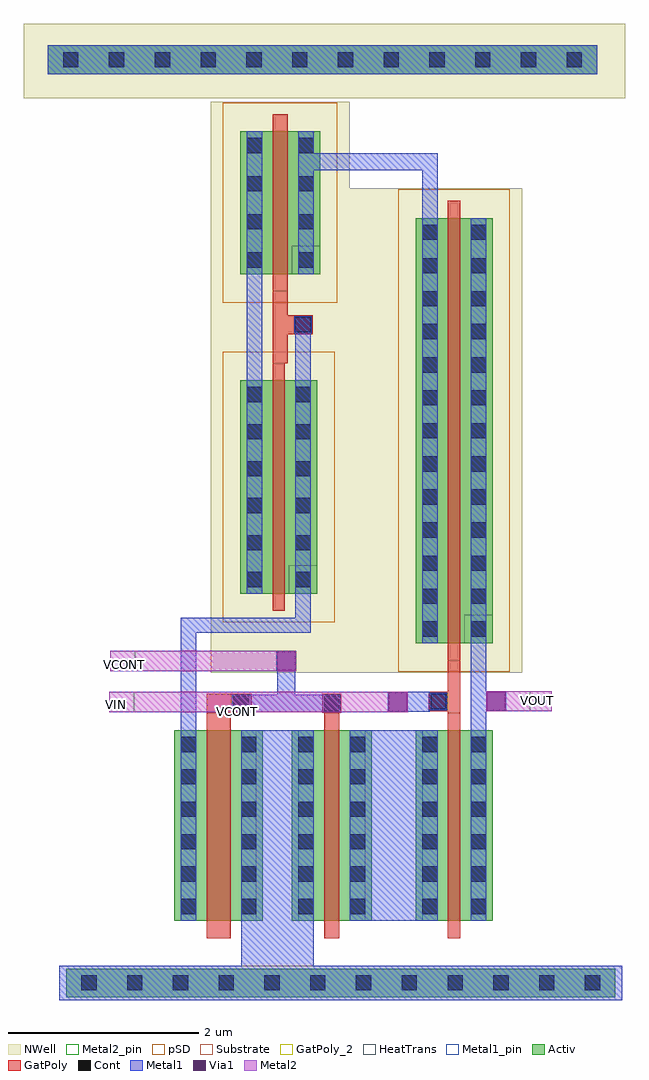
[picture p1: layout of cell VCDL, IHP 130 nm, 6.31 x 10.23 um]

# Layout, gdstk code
import gdstk
lib = gdstk.Library(unit=1e-6, precision=1e-09)
def R(c, l, rs):  # rectangles x0, y0, x1, y1
    for r in rs: c.add(gdstk.rectangle(r[:2], r[2:], *l))
def A(c, l, x, y, w, h, nx, ny, dx, dy):  # array of equal rectangles
    R(c, l, [(x+i*dx, y+j*dy, x+i*dx+w, y+j*dy+h) for i in range(nx) for j in range(ny)])
def P(c, l, *ps):  # polygons
    for p in ps: c.add(gdstk.Polygon(p, *l))
Activ = (1, 0)
GatPoly = (5, 0)
GatPoly_2 = (5, 2)
Cont = (6, 0)
Metal1 = (8, 0)
Metal1_pin = (8, 2)
Metal2 = (10, 0)
Metal2_pin = (10, 2)
pSD = (14, 0)
Via1 = (19, 0)
NWell = (31, 0)
Substrate = (40, 0)
HeatTrans = (51, 0)

nmos = lib.new_cell('nmos')
R(nmos, Activ, [(0,0,0.3,0.3), (0,0,0.84,2), (0.54,0,0.84,0.3)])
R(nmos, GatPoly, [(0.34,-0.18,0.5,2.18)])
R(nmos, GatPoly_2, [(0.34,-0.18,0.5,2.18)])
A(nmos, Cont, 0.07, 0.07, 0.16, 0.16, 1, 6, 0, 0.34)
A(nmos, Cont, 0.61, 0.07, 0.16, 0.16, 1, 6, 0, 0.34)
R(nmos, Metal1, [(0.07,0,0.23,2), (0.61,0,0.77,2)])
R(nmos, Metal1_pin, [(0.07,0,0.23,2), (0.61,0,0.77,2)])
R(nmos, HeatTrans, [(0.34,-0.18,0.5,2.18)])
nmos.add(gdstk.Label('nmos', (0.42,1), layer=63, texttype=0))
nmos.add(gdstk.Label('nmos', (0.42,1), layer=51, texttype=0))

nmos_1 = lib.new_cell('nmos$1')
R(nmos_1, Activ, [(0,0,0.3,0.3), (0,0,0.93,2), (0.63,0,0.93,0.3)])
R(nmos_1, GatPoly, [(0.34,-0.18,0.59,2.18)])
R(nmos_1, GatPoly_2, [(0.34,-0.18,0.59,2.18)])
A(nmos_1, Cont, 0.07, 0.07, 0.16, 0.16, 1, 6, 0, 0.34)
A(nmos_1, Cont, 0.7, 0.07, 0.16, 0.16, 1, 6, 0, 0.34)
R(nmos_1, Metal1, [(0.07,0,0.23,2), (0.7,0,0.86,2)])
R(nmos_1, Metal1_pin, [(0.07,0,0.23,2), (0.7,0,0.86,2)])
R(nmos_1, HeatTrans, [(0.34,-0.18,0.59,2.18)])
nmos_1.add(gdstk.Label('nmos', (0.465,1), layer=63, texttype=0))
nmos_1.add(gdstk.Label('nmos', (0.465,1), layer=51, texttype=0))

pmos = lib.new_cell('pmos')
R(pmos, Activ, [(0,0,0.3,0.3), (0,0,0.81,2.24), (0.51,0,0.81,0.3)])
R(pmos, GatPoly, [(0.34,-0.18,0.47,2.42), (0.34,-0.18,0.47,2.42)])
A(pmos, Cont, 0.07, 1.23, 0.16, 0.16, 1, 3, 0, 0.39)
A(pmos, Cont, 0.58, 1.23, 0.16, 0.16, 1, 3, 0, 0.39)
R(pmos, Cont, [(0.07,0.07,0.23,0.23), (0.58,0.07,0.74,0.23), (0.07,0.455,0.23,0.615), (0.58,0.455,0.74,0.615), (0.07,0.845,0.23,1.005), (0.58,0.845,0.74,1.005)])
R(pmos, Metal1, [(0.07,0,0.23,2.24), (0.07,0,0.23,2.24), (0.58,0,0.74,2.24), (0.58,0,0.74,2.24)])
R(pmos, pSD, [(-0.18,-0.3,0.99,2.54)])
R(pmos, NWell, [(-0.31,-0.31,1.12,2.55)])
R(pmos, Substrate, [(0.51,0,0.81,0.3)])
R(pmos, HeatTrans, [(0.34,-0.18,0.47,2.42)])
pmos.add(gdstk.Label('pmos', (0.405,1.12), layer=63, texttype=0))
pmos.add(gdstk.Label('pmos', (0.405,1.12), layer=51, texttype=0))

pmos_1 = lib.new_cell('pmos$1')
R(pmos_1, Activ, [(0,0,0.3,0.3), (0,0,0.84,1.5), (0.54,0,0.84,0.3)])
R(pmos_1, GatPoly, [(0.34,-0.18,0.5,1.68), (0.34,-0.18,0.5,1.68)])
A(pmos_1, Cont, 0.07, 0.07, 0.16, 0.16, 1, 4, 0, 0.4)
A(pmos_1, Cont, 0.61, 0.07, 0.16, 0.16, 1, 4, 0, 0.4)
R(pmos_1, Metal1, [(0.07,0,0.23,1.5), (0.07,0,0.23,1.5), (0.61,0,0.77,1.5), (0.61,0,0.77,1.5)])
R(pmos_1, pSD, [(-0.18,-0.3,1.02,1.8)])
R(pmos_1, NWell, [(-0.31,-0.31,1.15,1.81)])
R(pmos_1, Substrate, [(0.54,0,0.84,0.3)])
R(pmos_1, HeatTrans, [(0.34,-0.18,0.5,1.68)])
pmos_1.add(gdstk.Label('pmos', (0.42,0.75), layer=63, texttype=0))
pmos_1.add(gdstk.Label('pmos', (0.42,0.75), layer=51, texttype=0))

pmos_2 = lib.new_cell('pmos$2')
R(pmos_2, Activ, [(0,0,0.3,0.3), (0,0,0.81,4.46), (0.51,0,0.81,0.3)])
R(pmos_2, GatPoly, [(0.34,-0.18,0.47,4.64), (0.34,-0.18,0.47,4.64)])
A(pmos_2, Cont, 0.07, 0.07, 0.16, 0.16, 1, 3, 0, 0.345)
A(pmos_2, Cont, 0.58, 0.07, 0.16, 0.16, 1, 3, 0, 0.345)
A(pmos_2, Cont, 0.07, 1.11, 0.16, 0.16, 1, 3, 0, 0.345)
A(pmos_2, Cont, 0.58, 1.11, 0.16, 0.16, 1, 3, 0, 0.345)
A(pmos_2, Cont, 0.07, 2.15, 0.16, 0.16, 1, 3, 0, 0.345)
A(pmos_2, Cont, 0.58, 2.15, 0.16, 0.16, 1, 3, 0, 0.345)
A(pmos_2, Cont, 0.07, 3.19, 0.16, 0.16, 1, 3, 0, 0.345)
A(pmos_2, Cont, 0.58, 3.19, 0.16, 0.16, 1, 3, 0, 0.345)
R(pmos_2, Cont, [(0.07,4.23,0.23,4.39), (0.58,4.23,0.74,4.39)])
R(pmos_2, Metal1, [(0.07,0,0.23,4.46), (0.07,0,0.23,4.46), (0.58,0,0.74,4.46), (0.58,0,0.74,4.46)])
R(pmos_2, pSD, [(-0.18,-0.3,0.99,4.76)])
R(pmos_2, NWell, [(-0.31,-0.31,1.12,4.77)])
R(pmos_2, Substrate, [(0.51,0,0.81,0.3)])
R(pmos_2, HeatTrans, [(0.34,-0.18,0.47,4.64)])
pmos_2.add(gdstk.Label('pmos', (0.405,2.23), layer=63, texttype=0))
pmos_2.add(gdstk.Label('pmos', (0.405,2.23), layer=51, texttype=0))

nmos_2 = lib.new_cell('nmos$2')
R(nmos_2, Activ, [(0,0,0.3,0.3), (0,0,0.81,2), (0.51,0,0.81,0.3)])
R(nmos_2, GatPoly, [(0.34,-0.18,0.47,2.18)])
R(nmos_2, GatPoly_2, [(0.34,-0.18,0.47,2.18)])
A(nmos_2, Cont, 0.07, 0.07, 0.16, 0.16, 1, 6, 0, 0.34)
A(nmos_2, Cont, 0.58, 0.07, 0.16, 0.16, 1, 6, 0, 0.34)
R(nmos_2, Metal1, [(0.07,0,0.23,2), (0.58,0,0.74,2)])
R(nmos_2, Metal1_pin, [(0.07,0,0.23,2), (0.58,0,0.74,2)])
R(nmos_2, HeatTrans, [(0.34,-0.18,0.47,2.18)])
nmos_2.add(gdstk.Label('nmos', (0.405,1), layer=63, texttype=0))
nmos_2.add(gdstk.Label('nmos', (0.405,1), layer=51, texttype=0))

vcdl = lib.new_cell('VCDL')
A(vcdl, Activ, 1.51, 1.055, 1.44, 0.3, 4, 1, 1.44, 0)
A(vcdl, Activ, 1.32, 10.735, 1.44, 0.3, 4, 1, 1.44, 0)
R(vcdl, GatPoly, [(2.985,4.035,3.235,4.235), (3.235,4.035,3.455,4.235), (4.195,4.035,4.395,4.235), (5.515,4.035,5.645,4.585), (5.315,4.055,5.515,4.255), (3.675,7.705,3.835,8.455), (3.835,8.005,3.895,8.205), (3.895,8.005,4.095,8.205)])
R(vcdl, GatPoly_2, [(3.235,4.035,3.455,4.235), (4.195,4.035,4.395,4.235), (5.315,4.055,5.515,4.255), (3.895,8.005,4.095,8.205)])
R(vcdl, Cont, [(1.67,1.125,1.83,1.285), (1.67,1.125,1.83,1.285), (2.15,1.125,2.31,1.285), (2.15,1.125,2.31,1.285), (2.63,1.125,2.79,1.285), (2.63,1.125,2.79,1.285), (3.11,1.125,3.27,1.285), (3.11,1.125,3.27,1.285), (3.59,1.125,3.75,1.285), (3.59,1.125,3.75,1.285), (4.07,1.125,4.23,1.285), (4.07,1.125,4.23,1.285), (4.55,1.125,4.71,1.285), (4.55,1.125,4.71,1.285), (5.03,1.125,5.19,1.285), (5.03,1.125,5.19,1.285), (5.51,1.125,5.67,1.285), (5.51,1.125,5.67,1.285), (5.99,1.125,6.15,1.285), (5.99,1.125,6.15,1.285), (6.47,1.125,6.63,1.285), (6.47,1.125,6.63,1.285), (6.95,1.125,7.11,1.285), (6.95,1.125,7.11,1.285), (3.265,4.055,3.425,4.215), (4.215,4.055,4.375,4.215), (5.335,4.075,5.495,4.235), (3.915,8.025,4.075,8.185), (1.48,10.805,1.64,10.965), (1.48,10.805,1.64,10.965), (1.96,10.805,2.12,10.965), (1.96,10.805,2.12,10.965), (2.44,10.805,2.6,10.965), (2.44,10.805,2.6,10.965), (2.92,10.805,3.08,10.965), (2.92,10.805,3.08,10.965), (3.4,10.805,3.56,10.965), (3.4,10.805,3.56,10.965), (3.88,10.805,4.04,10.965), (3.88,10.805,4.04,10.965), (4.36,10.805,4.52,10.965), (4.36,10.805,4.52,10.965), (4.84,10.805,5,10.965), (4.84,10.805,5,10.965), (5.32,10.805,5.48,10.965), (5.32,10.805,5.48,10.965), (5.8,10.805,5.96,10.965), (5.8,10.805,5.96,10.965), (6.28,10.805,6.44,10.965), (6.28,10.805,6.44,10.965), (6.76,10.805,6.92,10.965), (6.76,10.805,6.92,10.965)])
R(vcdl, Metal1, [(1.44,1.025,7.34,1.385), (3.345,1.025,4.105,3.855), (4.485,1.855,5.405,3.855), (2.715,3.855,2.875,4.875), (5.755,3.855,5.915,4.765), (3.245,4.045,3.445,4.225), (3.245,4.045,4.385,4.225), (4.885,4.05,5.325,4.26), (5.915,4.055,6.125,4.265), (5.325,4.065,5.505,4.245), (3.725,4.225,3.915,4.475), (3.715,4.475,3.925,4.685), (2.715,4.875,3.915,5.035), (3.915,4.875,4.075,5.285), (3.405,7.525,3.565,8.635), (3.915,7.525,4.075,8.015), (3.905,8.015,4.085,8.195), (5.245,9.225,5.405,9.905), (4.105,9.725,5.245,9.905), (1.32,10.735,7.08,11.035)])
P(vcdl, Metal1, [(5.465,4.135),(5.465,4.135),(5.465,4.135),(5.465,4.135)])
R(vcdl, Metal1_pin, [(3.245,4.045,3.445,4.225), (4.205,4.045,4.385,4.225), (5.915,4.055,6.125,4.265), (5.325,4.065,5.505,4.245), (3.715,4.475,3.925,4.685), (3.905,8.015,4.085,8.195)])
R(vcdl, Metal2, [(1.965,4.045,5.095,4.255), (5.915,4.055,6.605,4.265), (1.975,4.475,3.925,4.685)])
R(vcdl, Metal2_pin, [(1.965,4.045,2.225,4.255), (6.375,4.055,6.605,4.265), (1.975,4.475,2.235,4.685), (3.715,4.475,3.925,4.685)])
A(vcdl, pSD, 1.44, 1.025, 1.58, 0.36, 4, 1, 1.44, 0)
R(vcdl, Via1, [(4.895,4.055,5.085,4.245), (5.925,4.065,6.115,4.255), (3.725,4.485,3.915,4.675)])
R(vcdl, NWell, [(3.025,4.455,4.865,4.975), (4.455,4.975,4.865,7.835), (3.025,7.835,4.865,8.325), (4.485,8.325,4.865,9.535), (1.065,10.48,7.375,11.26)])
vcdl.add(gdstk.Reference(nmos, (3.875,1.855)))
vcdl.add(gdstk.Reference(nmos_1, (2.645,1.855)))
vcdl.add(gdstk.Reference(pmos, (3.335,5.285)))
vcdl.add(gdstk.Reference(pmos_1, (3.335,8.635)))
vcdl.add(gdstk.Reference(pmos_2, (5.175,4.765)))
vcdl.add(gdstk.Reference(nmos_2, (5.175,1.855)))
vcdl.add(gdstk.Label('VCONT', (3.305,4.055), layer=8, texttype=2))
vcdl.add(gdstk.Label('VIN', (2.035,4.125), layer=10, texttype=2))
vcdl.add(gdstk.Label('VOUT', (6.455,4.165), layer=10, texttype=2))
vcdl.add(gdstk.Label('VCONT', (2.125,4.545), layer=10, texttype=2))

lib.write_gds('VCDL.gds')
